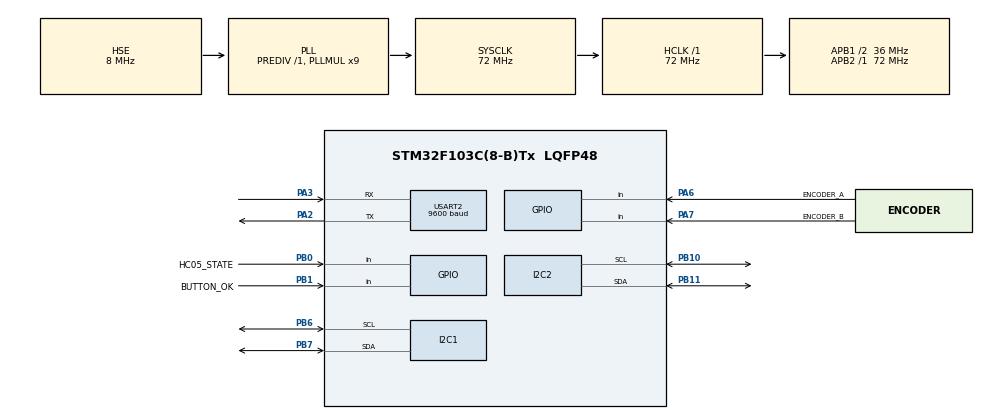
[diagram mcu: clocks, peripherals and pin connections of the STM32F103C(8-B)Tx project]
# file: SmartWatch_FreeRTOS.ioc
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Dma.Request0=USART2_TX
Dma.Request1=USART2_RX
Dma.USART2_RX.1.Direction=DMA_PERIPH_TO_MEMORY
Dma.USART2_RX.1.Instance=DMA1_Channel6
Dma.USART2_RX.1.MemDataAlignment=DMA_MDATAALIGN_BYTE
Dma.USART2_RX.1.MemInc=DMA_MINC_ENABLE
Dma.USART2_RX.1.Mode=DMA_CIRCULAR
Dma.USART2_RX.1.PeriphDataAlignment=DMA_PDATAALIGN_BYTE
Dma.USART2_RX.1.PeriphInc=DMA_PINC_DISABLE
Dma.USART2_RX.1.Priority=DMA_PRIORITY_LOW
Dma.USART2_TX.0.Direction=DMA_MEMORY_TO_PERIPH
Dma.USART2_TX.0.Instance=DMA1_Channel7
Dma.USART2_TX.0.MemDataAlignment=DMA_MDATAALIGN_BYTE
Dma.USART2_TX.0.MemInc=DMA_MINC_ENABLE
Dma.USART2_TX.0.Mode=DMA_NORMAL
Dma.USART2_TX.0.PeriphDataAlignment=DMA_PDATAALIGN_BYTE
Dma.USART2_TX.0.PeriphInc=DMA_PINC_DISABLE
Dma.USART2_TX.0.Priority=DMA_PRIORITY_LOW
Mcu.Family=STM32F1
Mcu.Name=STM32F103C(8-B)Tx
Mcu.Package=LQFP48
NVIC.DMA1_Channel6_IRQn=true\:0\:0\:false\:false\:true\:false\:true\:true
NVIC.DMA1_Channel7_IRQn=true\:0\:0\:false\:false\:true\:false\:true\:true
NVIC.PriorityGroup=NVIC_PRIORITYGROUP_4
NVIC.USART2_IRQn=true\:5\:0\:true\:false\:true\:true\:true\:true
PA13.Mode=Serial_Wire
PA13.Signal=SYS_JTMS-SWDIO
PA14.Mode=Serial_Wire
PA14.Signal=SYS_JTCK-SWCLK
PA2.Mode=Asynchronous
PA2.Signal=USART2_TX
PA3.Mode=Asynchronous
PA3.Signal=USART2_RX
PA6.GPIO_Label=ENCODER_A
PA6.GPIO_PuPd=GPIO_PULLUP
PA6.Signal=GPIO_Input
PA7.GPIO_Label=ENCODER_B
PA7.GPIO_PuPd=GPIO_PULLUP
PA7.Signal=GPIO_Input
PB1.GPIO_Label=BUTTON_OK
PB1.GPIO_PuPd=GPIO_PULLUP
PB1.Signal=GPIO_Input
PB0.GPIO_Label=HC05_STATE
PB0.GPIO_PuPd=GPIO_PULLDOWN
PB0.Signal=GPIO_Input
PB10.Mode=I2C
PB10.Signal=I2C2_SCL
PB11.Mode=I2C
PB11.Signal=I2C2_SDA
PB6.Mode=I2C
PB6.Signal=I2C1_SCL
PB7.Mode=I2C
PB7.Signal=I2C1_SDA
PD0-OSC_IN.Mode=HSE-External-Oscillator
PD0-OSC_IN.Signal=RCC_OSC_IN
PD1-OSC_OUT.Mode=HSE-External-Oscillator
PD1-OSC_OUT.Signal=RCC_OSC_OUT
ProjectManager.HeapSize=0x200
ProjectManager.StackSize=0x400
ProjectManager.TargetToolchain=CMake
RCC.AHBFreq_Value=72000000
RCC.APB1CLKDivider=RCC_HCLK_DIV2
RCC.APB1Freq_Value=36000000
RCC.APB1TimFreq_Value=72000000
RCC.APB2Freq_Value=72000000
RCC.APB2TimFreq_Value=72000000
RCC.HCLKFreq_Value=72000000
RCC.PLLMUL=RCC_PLL_MUL9
RCC.PLLSourceVirtual=RCC_PLLSOURCE_HSE
RCC.SYSCLKFreq_VALUE=72000000
RCC.SYSCLKSource=RCC_SYSCLKSOURCE_PLLCLK
RCC.USBFreq_Value=72000000
USART2.BaudRate=9600
USART2.VirtualMode=VM_ASYNC
board=custom

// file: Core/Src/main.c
/* USER CODE BEGIN Header */
/**
  ******************************************************************************
  * @file           : main.c
  * @brief          : Main program body
  ******************************************************************************
  * @attention
  *
  * Copyright (c) 2026 STMicroelectronics.
  * All rights reserved.
  *
  * This software is licensed under terms that can be found in the LICENSE file
  * in the root directory of this software component.
  * If no LICENSE file comes with this software, it is provided AS-IS.
  *
  ******************************************************************************
  */
/* USER CODE END Header */
#include "main.h"
#include "dma.h"
#include "i2c.h"
#include "usart.h"
#include "gpio.h"

/* USER CODE BEGIN Includes */
#include "oled.h"
#include "smartwatch_ui.h"
#include "mpu6050.h"
#include "usart.h"
#include "bluetooth.h"
#include "encoder.h"
#include "step_counter.h"
#include "app_freertos.h"
/* USER CODE END Includes */

/* USER CODE BEGIN PV */
SmartWatchData_t watch_data;
StepCounter_t step_counter;
/* USER CODE END PV */

void SystemClock_Config(void);

/* USER CODE BEGIN 0 */
static void UpdateMpuDiagnostics(SmartWatchData_t *data)
{
    data->mpu_ready_68 = MPU6050_IsReadyAt(0x68);
    data->mpu_ready_69 = MPU6050_IsReadyAt(0x69);
    data->mpu_whoami_68 = data->mpu_ready_68 ? MPU6050_ReadWhoAmIAt(0x68) : 0x00;
    data->mpu_whoami_69 = data->mpu_ready_69 ? MPU6050_ReadWhoAmIAt(0x69) : 0x00;
}

static void UpdateEncoderDiagnostics(SmartWatchData_t *data)
{
    EncoderDebug_t debug;
    Encoder_GetDebug(&debug);
    data->enc_a = debug.a;
    data->enc_b = debug.b;
    data->enc_cw = debug.cw_count;
    data->enc_ccw = debug.ccw_count;
    data->enc_press = debug.press_count;
    data->enc_transitions = debug.transition_count;
}

/* USER CODE END 0 */

int main(void)
{

  /* MCU Configuration--------------------------------------------------------*/

  /* Reset of all peripherals, Initializes the Flash interface and the Systick. */
  HAL_Init();

  /* Configure the system clock */
  SystemClock_Config();

  /* Initialize all configured peripherals */
  MX_GPIO_Init();
  MX_DMA_Init();
  MX_I2C1_Init();
  MX_I2C2_Init();
  MX_USART2_UART_Init();
  /* USER CODE BEGIN 2 */

  UI_InitData(&watch_data);

  /* Initialize OLED */
  OLED_Init();

  /* Initialize MPU6050 */
  UpdateMpuDiagnostics(&watch_data);
  watch_data.imu_status = (MPU6050_Init() == 0) ? 1 : 0;
  if (!watch_data.imu_status) {
      UpdateMpuDiagnostics(&watch_data);
  }

  /* Initialize Bluetooth */
  BT_Init();
  watch_data.bt_connected = 0;

  /* Initialize encoder and step counter */
  Encoder_Init();
  StepCounter_Init(&step_counter);
  UpdateEncoderDiagnostics(&watch_data);

  /* Show watch face first */
  watch_data.current_page = PAGE_WATCH_FACE;
  UI_DrawPage(watch_data.current_page, &watch_data);

  App_FreeRTOS_Start();

  /* USER CODE END 2 */

  /* Infinite loop */
  while (1)
  {

    /* USER CODE BEGIN 3 */
    HAL_Delay(1000);
  }
  /* USER CODE END 3 */
}

void SystemClock_Config(void)
{
  RCC_OscInitTypeDef RCC_OscInitStruct = {0};
  RCC_ClkInitTypeDef RCC_ClkInitStruct = {0};

  /** Initializes the RCC Oscillators according to the specified parameters
  * in the RCC_OscInitTypeDef structure.
  */
  RCC_OscInitStruct.OscillatorType = RCC_OSCILLATORTYPE_HSE;
  RCC_OscInitStruct.HSEState = RCC_HSE_ON;
  RCC_OscInitStruct.HSEPredivValue = RCC_HSE_PREDIV_DIV1;
  RCC_OscInitStruct.HSIState = RCC_HSI_ON;
  RCC_OscInitStruct.PLL.PLLState = RCC_PLL_ON;
  RCC_OscInitStruct.PLL.PLLSource = RCC_PLLSOURCE_HSE;
  RCC_OscInitStruct.PLL.PLLMUL = RCC_PLL_MUL9;
  if (HAL_RCC_OscConfig(&RCC_OscInitStruct) != HAL_OK)
  {
    Error_Handler();
  }

  /** Initializes the CPU, AHB and APB buses clocks
  */
  RCC_ClkInitStruct.ClockType = RCC_CLOCKTYPE_HCLK|RCC_CLOCKTYPE_SYSCLK
                              |RCC_CLOCKTYPE_PCLK1|RCC_CLOCKTYPE_PCLK2;
  RCC_ClkInitStruct.SYSCLKSource = RCC_SYSCLKSOURCE_PLLCLK;
  RCC_ClkInitStruct.AHBCLKDivider = RCC_SYSCLK_DIV1;
  RCC_ClkInitStruct.APB1CLKDivider = RCC_HCLK_DIV2;
  RCC_ClkInitStruct.APB2CLKDivider = RCC_HCLK_DIV1;

  if (HAL_RCC_ClockConfig(&RCC_ClkInitStruct, FLASH_LATENCY_2) != HAL_OK)
  {
    Error_Handler();
  }
}

void Error_Handler(void)
{
  __disable_irq();
  while (1)
  {
  }
}
